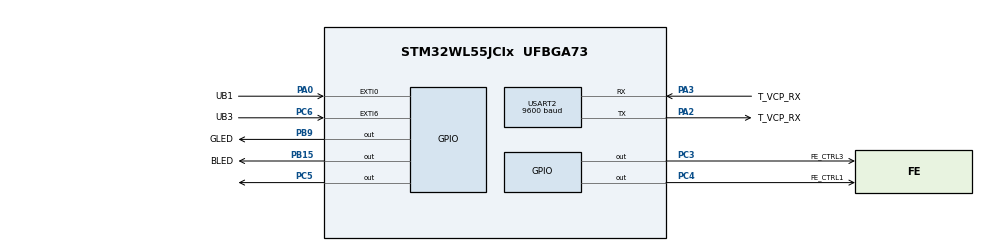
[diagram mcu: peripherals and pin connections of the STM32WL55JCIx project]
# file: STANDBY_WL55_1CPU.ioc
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Mcu.Family=STM32WL
Mcu.Name=STM32WL55JCIx
Mcu.Package=UFBGA73
NVIC.EXTI0_IRQn=true\:0\:0\:false\:false\:true\:true\:true\:true
NVIC.EXTI9_5_IRQn=true\:0\:0\:false\:false\:true\:true\:true\:true
NVIC.PriorityGroup=NVIC_PRIORITYGROUP_4
PA0.GPIO_Label=UB1
PA0.GPIO_ModeDefaultEXTI=GPIO_MODE_IT_FALLING
PA0.GPIO_PuPd=GPIO_PULLUP
PA0.Signal=GPXTI0
PA2.GPIO_Label=T_VCP_RX
PA2.Mode=Asynchronous
PA2.Signal=USART2_TX
PA3.GPIO_Label=T_VCP_RX
PA3.Mode=Asynchronous
PA3.Signal=USART2_RX
PB15.GPIO_Label=BLED
PB15.Signal=GPIO_Output
PB9.GPIO_Label=GLED
PB9.Signal=GPIO_Output
PC14-OSC32_IN.GPIO_Label=RCC_OSC32_IN
PC14-OSC32_IN.Signal=RCC_OSC32_IN
PC15-OSC32_OUT.GPIO_Label=RCC_OSC32_OUT
PC15-OSC32_OUT.Signal=RCC_OSC32_OUT
PC3.GPIO_Label=FE_CTRL3
PC3.GPIO_Speed=GPIO_SPEED_FREQ_VERY_HIGH
PC3.Signal=GPIO_Output
PC4.GPIO_Label=FE_CTRL1
PC4.GPIO_Speed=GPIO_SPEED_FREQ_VERY_HIGH
PC4.Signal=GPIO_Output
PC5.Signal=GPIO_Output
PC6.GPIO_Label=UB3
PC6.GPIO_ModeDefaultEXTI=GPIO_MODE_IT_FALLING
PC6.GPIO_PuPd=GPIO_PULLUP
PC6.Signal=GPXTI6
ProjectManager.HeapSize=0x200
ProjectManager.StackSize=0x400
ProjectManager.TargetToolchain=STM32CubeIDE
RCC.AHBFreq_Value=48000000
RCC.APB1Freq_Value=48000000
RCC.APB1TimFreq_Value=48000000
RCC.APB2Freq_Value=48000000
RCC.APB2TimFreq_Value=48000000
RCC.APB3Freq_Value=48000000
RCC.CortexFreq_Value=48000000
RCC.HCLKFreq_Value=48000000
RCC.HSE_VALUE=32000000
RCC.HSI_VALUE=16000000
RCC.LSE_VALUE=32768
RCC.PLLN=24
RCC.SYSCLKFreq_VALUE=48000000
RCC.SYSCLKSource=RCC_SYSCLKSOURCE_PLLCLK
RCC.VCOOutputFreq_Value=96000000
USART2.BaudRate=9600
USART2.VirtualMode-Asynchronous=VM_ASYNC
board=NUCLEO-WL55JC1

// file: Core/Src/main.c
/* USER CODE BEGIN Header */
/**
  ******************************************************************************
  * @file           : main.c
  * @brief          : Main program body
  ******************************************************************************
  * @attention
  *
  * Copyright (c) 2025 STMicroelectronics.
  * All rights reserved.
  *
  * This software is licensed under terms that can be found in the LICENSE file
  * in the root directory of this software component.
  * If no LICENSE file comes with this software, it is provided AS-IS.
  *
  ******************************************************************************
  */
/* USER CODE END Header */
#include "main.h"

/* USER CODE BEGIN Includes */
#include <stdio.h>
/* USER CODE END Includes */

UART_HandleTypeDef huart2;

void SystemClock_Config(void);
static void MX_GPIO_Init(void);
static void MX_USART2_UART_Init(void);

/* USER CODE BEGIN 0 */
/** @brief Redirect the output of printf to USART2
  * @retval int
  */
int __io_putchar(int ch){
	HAL_UART_Transmit(&huart2, &ch, 1, 1000);
}

/** @brief Blinking LEDs sequence (blue, green)
  * @retval None
  */
void LED_Sequence(void){
	for (int _ = 0; _ < 2; _++){
		for (int l = 0; l < 2; l++){
			HAL_GPIO_TogglePin(GPIOB, BLED_Pin);
			// No need of software delay because the system was already (re)initialized
			HAL_Delay(500);
		}
		for (int l = 0; l < 2; l++){
			HAL_GPIO_TogglePin(GPIOB, GLED_Pin);
			HAL_Delay(500);
		}
	}
}
/** @brief Checks if the system has woken up from Standby mode.
  * If so, a sequence of blinking LEDs is launched.
  * @retval None
  */
void ResumeFromStandby(void){
	/* Check if the system was resumed from Standby mode */
	if (__HAL_PWR_GET_FLAG(PWR_FLAG_SB) != RESET){
		/* Clear Standby flag */
		__HAL_PWR_CLEAR_FLAG(PWR_FLAG_SB);

		// This part executes at wake-up
		// Reinitialize the USART2 peripheral
		MX_USART2_UART_Init();
		printf("\t\tRéveil depuis la patte PA0, sortie du mode Standby. \r\n");
		printf("\t\tSéquence de LEDs lancée. \r\n");
		// Reinitialize the GPIO peripheral
		MX_GPIO_Init();
		// Start blinking LEDs sequence
		LED_Sequence();
	}
	// Clear the Wake-Up flag of all pins
	__HAL_PWR_CLEAR_FLAG(PWR_FLAG_WU);
	// Clear all related wakeup flags - e.g. wake-up pin 1 flag
	__HAL_PWR_CLEAR_FLAG(PWR_FLAG_WUF1);
}

/* USER CODE END 0 */

int main(void)
{

  /* MCU Configuration--------------------------------------------------------*/

  /* Reset of all peripherals, Initializes the Flash interface and the Systick. */
  HAL_Init();

  /* Configure the system clock */
  SystemClock_Config();

  /* Initialize all configured peripherals */
  MX_GPIO_Init();
  MX_USART2_UART_Init();
  /* USER CODE BEGIN 2 */
  ResumeFromStandby();

  /* USER CODE END 2 */

  /* Infinite loop */
  /* USER CODE BEGIN WHILE */
  	  printf("\r\n\r\nTest d'une appli mode veille profonde sur STM32\r\n");
  while (1)
  {
	  printf("En attente de pression du bouton UB3... \r\n");
	  while(HAL_GPIO_ReadPin(GPIOC, UB3_Pin) == SET);
	  printf("\tPression bouton UB3 -sur PC6- détectée! \r\n");
	  printf("\tLe µCU va entrer en mode Standby. \r\n\r\n");

	  // Clock-gating the USART2 peripheral
	  __HAL_RCC_USART2_CLK_SLEEP_DISABLE();

	  HAL_PWR_EnterSTANDBYMode();
	  /* ####----####----####----####
	   * MCU sleeps in Standby mode
	   * ####----####----####----####
	   */

    /* USER CODE END WHILE */

  }
}

void SystemClock_Config(void)
{
  RCC_OscInitTypeDef RCC_OscInitStruct = {0};
  RCC_ClkInitTypeDef RCC_ClkInitStruct = {0};

  /** Configure the main internal regulator output voltage
  */
  __HAL_PWR_VOLTAGESCALING_CONFIG(PWR_REGULATOR_VOLTAGE_SCALE1);

  /** Initializes the CPU, AHB and APB buses clocks
  */
  RCC_OscInitStruct.OscillatorType = RCC_OSCILLATORTYPE_MSI;
  RCC_OscInitStruct.MSIState = RCC_MSI_ON;
  RCC_OscInitStruct.MSICalibrationValue = RCC_MSICALIBRATION_DEFAULT;
  RCC_OscInitStruct.MSIClockRange = RCC_MSIRANGE_6;
  RCC_OscInitStruct.PLL.PLLState = RCC_PLL_ON;
  RCC_OscInitStruct.PLL.PLLSource = RCC_PLLSOURCE_MSI;
  RCC_OscInitStruct.PLL.PLLM = RCC_PLLM_DIV1;
  RCC_OscInitStruct.PLL.PLLN = 24;
  RCC_OscInitStruct.PLL.PLLP = RCC_PLLP_DIV2;
  RCC_OscInitStruct.PLL.PLLR = RCC_PLLR_DIV2;
  RCC_OscInitStruct.PLL.PLLQ = RCC_PLLQ_DIV2;
  if (HAL_RCC_OscConfig(&RCC_OscInitStruct) != HAL_OK)
  {
    Error_Handler();
  }

  /** Configure the SYSCLKSource, HCLK, PCLK1 and PCLK2 clocks dividers
  */
  RCC_ClkInitStruct.ClockType = RCC_CLOCKTYPE_HCLK3|RCC_CLOCKTYPE_HCLK
                              |RCC_CLOCKTYPE_SYSCLK|RCC_CLOCKTYPE_PCLK1
                              |RCC_CLOCKTYPE_PCLK2;
  RCC_ClkInitStruct.SYSCLKSource = RCC_SYSCLKSOURCE_PLLCLK;
  RCC_ClkInitStruct.AHBCLKDivider = RCC_SYSCLK_DIV1;
  RCC_ClkInitStruct.APB1CLKDivider = RCC_HCLK_DIV1;
  RCC_ClkInitStruct.APB2CLKDivider = RCC_HCLK_DIV1;
  RCC_ClkInitStruct.AHBCLK3Divider = RCC_SYSCLK_DIV1;

  if (HAL_RCC_ClockConfig(&RCC_ClkInitStruct, FLASH_LATENCY_2) != HAL_OK)
  {
    Error_Handler();
  }
}

static void MX_USART2_UART_Init(void)
{

  huart2.Instance = USART2;
  huart2.Init.BaudRate = 9600;
  huart2.Init.WordLength = UART_WORDLENGTH_8B;
  huart2.Init.StopBits = UART_STOPBITS_1;
  huart2.Init.Parity = UART_PARITY_NONE;
  huart2.Init.Mode = UART_MODE_TX_RX;
  huart2.Init.HwFlowCtl = UART_HWCONTROL_NONE;
  huart2.Init.OverSampling = UART_OVERSAMPLING_16;
  huart2.Init.OneBitSampling = UART_ONE_BIT_SAMPLE_DISABLE;
  huart2.Init.ClockPrescaler = UART_PRESCALER_DIV1;
  huart2.AdvancedInit.AdvFeatureInit = UART_ADVFEATURE_NO_INIT;
  if (HAL_UART_Init(&huart2) != HAL_OK)
  {
    Error_Handler();
  }
  if (HAL_UARTEx_SetTxFifoThreshold(&huart2, UART_TXFIFO_THRESHOLD_1_8) != HAL_OK)
  {
    Error_Handler();
  }
  if (HAL_UARTEx_SetRxFifoThreshold(&huart2, UART_RXFIFO_THRESHOLD_1_8) != HAL_OK)
  {
    Error_Handler();
  }
  if (HAL_UARTEx_DisableFifoMode(&huart2) != HAL_OK)
  {
    Error_Handler();
  }

}

static void MX_GPIO_Init(void)
{
  GPIO_InitTypeDef GPIO_InitStruct = {0};

  /* GPIO Ports Clock Enable */
  __HAL_RCC_GPIOB_CLK_ENABLE();
  __HAL_RCC_GPIOC_CLK_ENABLE();
  __HAL_RCC_GPIOA_CLK_ENABLE();

  /*Configure GPIO pin Output Level */
  HAL_GPIO_WritePin(GPIOB, BLED_Pin|GLED_Pin, GPIO_PIN_RESET);

  /*Configure GPIO pin Output Level */
  HAL_GPIO_WritePin(GPIOC, FE_CTRL3_Pin|GPIO_PIN_5|FE_CTRL1_Pin, GPIO_PIN_RESET);

  /*Configure GPIO pins : BLED_Pin GLED_Pin */
  GPIO_InitStruct.Pin = BLED_Pin|GLED_Pin;
  GPIO_InitStruct.Mode = GPIO_MODE_OUTPUT_PP;
  GPIO_InitStruct.Pull = GPIO_NOPULL;
  GPIO_InitStruct.Speed = GPIO_SPEED_FREQ_LOW;
  HAL_GPIO_Init(GPIOB, &GPIO_InitStruct);

  /*Configure GPIO pins : FE_CTRL3_Pin FE_CTRL1_Pin */
  GPIO_InitStruct.Pin = FE_CTRL3_Pin|FE_CTRL1_Pin;
  GPIO_InitStruct.Mode = GPIO_MODE_OUTPUT_PP;
  GPIO_InitStruct.Pull = GPIO_NOPULL;
  GPIO_InitStruct.Speed = GPIO_SPEED_FREQ_VERY_HIGH;
  HAL_GPIO_Init(GPIOC, &GPIO_InitStruct);

  /*Configure GPIO pin : UB1_Pin */
  GPIO_InitStruct.Pin = UB1_Pin;
  GPIO_InitStruct.Mode = GPIO_MODE_IT_FALLING;
  GPIO_InitStruct.Pull = GPIO_PULLUP;
  HAL_GPIO_Init(UB1_GPIO_Port, &GPIO_InitStruct);

  /*Configure GPIO pin : PC5 */
  GPIO_InitStruct.Pin = GPIO_PIN_5;
  GPIO_InitStruct.Mode = GPIO_MODE_OUTPUT_PP;
  GPIO_InitStruct.Pull = GPIO_NOPULL;
  GPIO_InitStruct.Speed = GPIO_SPEED_FREQ_LOW;
  HAL_GPIO_Init(GPIOC, &GPIO_InitStruct);

  /*Configure GPIO pin : UB3_Pin */
  GPIO_InitStruct.Pin = UB3_Pin;
  GPIO_InitStruct.Mode = GPIO_MODE_IT_FALLING;
  GPIO_InitStruct.Pull = GPIO_PULLUP;
  HAL_GPIO_Init(UB3_GPIO_Port, &GPIO_InitStruct);

  /* EXTI interrupt init*/
  HAL_NVIC_SetPriority(EXTI0_IRQn, 0, 0);
  HAL_NVIC_EnableIRQ(EXTI0_IRQn);

  HAL_NVIC_SetPriority(EXTI9_5_IRQn, 0, 0);
  HAL_NVIC_EnableIRQ(EXTI9_5_IRQn);

  /* USER CODE BEGIN MX_GPIO_Init_2 */
  /* Enable WakeUp Pin PWR_WAKEUP_PIN1 connected to PA0 */
   HAL_PWR_EnableWakeUpPin(PWR_WAKEUP_PIN1_LOW);
  /* Enable wake-up pin (PA0) pull-up state in Standby mode.*/
  HAL_PWREx_EnableGPIOPullUp(PWR_GPIO_A, PWR_GPIO_BIT_0);
  /* Apply pull-up/pull-down configuration in Standby mode */
  HAL_PWREx_EnablePullUpPullDownConfig();

  /* USER CODE END MX_GPIO_Init_2 */
}

void Error_Handler(void)
{
  __disable_irq();
  while (1)
  {
  }
}
